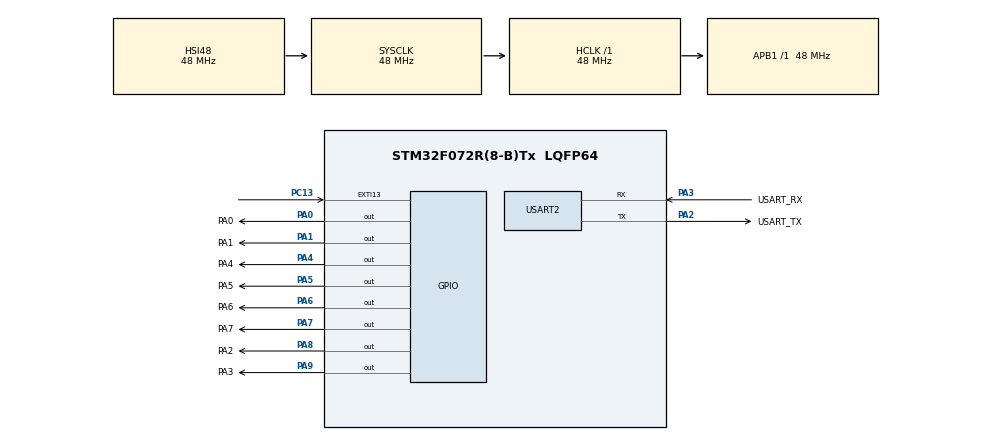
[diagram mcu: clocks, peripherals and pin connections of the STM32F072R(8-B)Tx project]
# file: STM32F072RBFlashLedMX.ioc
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Mcu.Family=STM32F0
Mcu.Name=STM32F072R(8-B)Tx
Mcu.Package=LQFP64
NVIC.EXTI4_15_IRQn=true\:0\:0\:false\:false\:true\:true\:true\:true
PA0.GPIO_Label=PA0
PA0.Signal=GPIO_Output
PA1.GPIO_Label=PA1
PA1.Signal=GPIO_Output
PA13.GPIO_Label=TMS
PA13.Mode=Serial_Wire
PA13.Signal=SYS_SWDIO
PA14.GPIO_Label=TCK
PA14.Mode=Serial_Wire
PA14.Signal=SYS_SWCLK
PA2.GPIO_Label=USART_TX
PA2.GPIO_Mode=GPIO_MODE_AF_PP
PA2.GPIO_PuPd=GPIO_NOPULL
PA2.GPIO_Speed=GPIO_SPEED_FREQ_LOW
PA2.Mode=Asynchronous
PA2.Signal=USART2_TX
PA3.GPIO_Label=USART_RX
PA3.GPIO_Mode=GPIO_MODE_AF_PP
PA3.GPIO_PuPd=GPIO_NOPULL
PA3.GPIO_Speed=GPIO_SPEED_FREQ_LOW
PA3.Mode=Asynchronous
PA3.Signal=USART2_RX
PA4.GPIO_Label=PA4
PA4.Signal=GPIO_Output
PA5.GPIO_Label=PA5
PA5.GPIO_Mode=GPIO_MODE_OUTPUT_PP
PA5.GPIO_PuPd=GPIO_NOPULL
PA5.GPIO_Speed=GPIO_SPEED_FREQ_LOW
PA5.Signal=GPIO_Output
PA6.GPIO_Label=PA6
PA6.Signal=GPIO_Output
PA7.GPIO_Label=PA7
PA7.Signal=GPIO_Output
PA8.GPIO_Label=PA2
PA8.Signal=GPIO_Output
PA9.GPIO_Label=PA3
PA9.Signal=GPIO_Output
PC13.Signal=GPXTI13
PC14-OSC32_IN.Mode=LSE-External-Oscillator
PC14-OSC32_IN.Signal=RCC_OSC32_IN
PC15-OSC32_OUT.Mode=LSE-External-Oscillator
PC15-OSC32_OUT.Signal=RCC_OSC32_OUT
PF0-OSC_IN.Mode=HSE-External-Clock-Source
PF0-OSC_IN.Signal=RCC_OSC_IN
PF1-OSC_OUT.Signal=RCC_OSC_OUT
ProjectManager.HeapSize=0x200
ProjectManager.StackSize=0x400
ProjectManager.TargetToolchain=CMake
RCC.AHBFreq_Value=48000000
RCC.APB1Freq_Value=48000000
RCC.APB1TimFreq_Value=48000000
RCC.FLatency-AdvancedSettings=FLASH_LATENCY_1
RCC.HCLKFreq_Value=48000000
RCC.PLLDivider=RCC_PREDIV_DIV2
RCC.PLLMUL=RCC_PLL_MUL12
RCC.PREFETCH_ENABLE-AdvancedSettings=1
RCC.SYSCLKFreq_VALUE=48000000
RCC.SYSCLKSource=RCC_SYSCLKSOURCE_HSI48
USART2.VirtualMode=VM_ASYNC
USART2.VirtualMode-Asynchronous=VM_ASYNC
board=NUCLEO-F072RB

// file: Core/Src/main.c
/* USER CODE BEGIN Header */
/**
 ******************************************************************************
 * @file           : main.c
 * @brief          : Main program body
 ******************************************************************************
 * @attention
 *
 * Copyright (c) 2024 STMicroelectronics.
 * All rights reserved.
 *
 * This software is licensed under terms that can be found in the LICENSE file
 * in the root directory of this software component.
 * If no LICENSE file comes with this software, it is provided AS-IS.
 *
 ******************************************************************************
 */
/* USER CODE END Header */
#include "main.h"

UART_HandleTypeDef huart2;

void SystemClock_Config(void);
static void MX_GPIO_Init(void);
static void MX_USART2_UART_Init(void);

/* USER CODE BEGIN 0 */

ledMode status;

// Button Interrupt
void HAL_GPIO_EXTI_Callback(uint16_t GPIO_Pin)
{
  ledMode_Next(&status);
}

/////////////////////////////////
// SysTick Handler
void MySysInterrupt(void)
{
  ledMode_HandleTick(&status);
}

void SysTick_Init(void)
{
  // System Core Clock ist 48 MHz
  uint32_t SystemCoreClock = 48000000;

  // Configure 1ms Interrupt
  SysTick->LOAD = (SystemCoreClock / 1000) - 1; // 1 ms
  SysTick->VAL = 0;                             // Clear current value register
  SysTick->CTRL = SysTick_CTRL_TICKINT_Msk      // Enable SysTick interrupt
                  | SysTick_CTRL_ENABLE_Msk;    // Enable SysTick Timer
}

/* USER CODE END 0 */

int main(void)
{

  /* MCU Configuration--------------------------------------------------------*/

  /* Reset of all peripherals, Initializes the Flash interface and the Systick. */
  HAL_Init();

  /* USER CODE BEGIN Init */

  SysTick_Init();

  /* USER CODE END Init */

  /* Configure the system clock */
  SystemClock_Config();

  /* Initialize all configured peripherals */
  MX_GPIO_Init();
  MX_USART2_UART_Init();
  /* USER CODE BEGIN 2 */

  ledMode_Init(&status);

  /* USER CODE END 2 */

  /* Infinite loop */
  while (1)
  {

  }
}

void SystemClock_Config(void)
{
  RCC_OscInitTypeDef RCC_OscInitStruct = {0};
  RCC_ClkInitTypeDef RCC_ClkInitStruct = {0};
  RCC_PeriphCLKInitTypeDef PeriphClkInit = {0};

  /** Initializes the RCC Oscillators according to the specified parameters
   * in the RCC_OscInitTypeDef structure.
   */
  RCC_OscInitStruct.OscillatorType = RCC_OSCILLATORTYPE_HSI48;
  RCC_OscInitStruct.HSI48State = RCC_HSI48_ON;
  RCC_OscInitStruct.PLL.PLLState = RCC_PLL_NONE;
  if (HAL_RCC_OscConfig(&RCC_OscInitStruct) != HAL_OK)
  {
    Error_Handler();
  }

  /** Initializes the CPU, AHB and APB buses clocks
   */
  RCC_ClkInitStruct.ClockType = RCC_CLOCKTYPE_HCLK | RCC_CLOCKTYPE_SYSCLK | RCC_CLOCKTYPE_PCLK1;
  RCC_ClkInitStruct.SYSCLKSource = RCC_SYSCLKSOURCE_HSI48;
  RCC_ClkInitStruct.AHBCLKDivider = RCC_SYSCLK_DIV1;
  RCC_ClkInitStruct.APB1CLKDivider = RCC_HCLK_DIV1;

  if (HAL_RCC_ClockConfig(&RCC_ClkInitStruct, FLASH_LATENCY_1) != HAL_OK)
  {
    Error_Handler();
  }
  PeriphClkInit.PeriphClockSelection = RCC_PERIPHCLK_USART2;
  PeriphClkInit.Usart2ClockSelection = RCC_USART2CLKSOURCE_PCLK1;
  if (HAL_RCCEx_PeriphCLKConfig(&PeriphClkInit) != HAL_OK)
  {
    Error_Handler();
  }
}

static void MX_USART2_UART_Init(void)
{

  huart2.Instance = USART2;
  huart2.Init.BaudRate = 38400;
  huart2.Init.WordLength = UART_WORDLENGTH_8B;
  huart2.Init.StopBits = UART_STOPBITS_1;
  huart2.Init.Parity = UART_PARITY_NONE;
  huart2.Init.Mode = UART_MODE_TX_RX;
  huart2.Init.HwFlowCtl = UART_HWCONTROL_NONE;
  huart2.Init.OverSampling = UART_OVERSAMPLING_16;
  huart2.Init.OneBitSampling = UART_ONE_BIT_SAMPLE_DISABLE;
  huart2.AdvancedInit.AdvFeatureInit = UART_ADVFEATURE_NO_INIT;
  if (HAL_UART_Init(&huart2) != HAL_OK)
  {
    Error_Handler();
  }
}

static void MX_GPIO_Init(void)
{
  GPIO_InitTypeDef GPIO_InitStruct = {0};

  /* GPIO Ports Clock Enable */
  __HAL_RCC_GPIOC_CLK_ENABLE();
  __HAL_RCC_GPIOF_CLK_ENABLE();
  __HAL_RCC_GPIOA_CLK_ENABLE();

  /*Configure GPIO pin Output Level */
  HAL_GPIO_WritePin(GPIOA, PA0_Pin | PA1_Pin | PA4_Pin | PA5_Pin | PA6_Pin | PA7_Pin | PA2_Pin | PA3_Pin, GPIO_PIN_RESET);

  /*Configure GPIO pin : PC13 */
  GPIO_InitStruct.Pin = GPIO_PIN_13;
  GPIO_InitStruct.Mode = GPIO_MODE_IT_RISING;
  GPIO_InitStruct.Pull = GPIO_NOPULL;
  HAL_GPIO_Init(GPIOC, &GPIO_InitStruct);

  /*Configure GPIO pins : PA0_Pin PA1_Pin PA4_Pin PA5_Pin
                           PA6_Pin PA7_Pin PA2_Pin PA3_Pin */
  GPIO_InitStruct.Pin = PA0_Pin | PA1_Pin | PA4_Pin | PA5_Pin | PA6_Pin | PA7_Pin | PA2_Pin | PA3_Pin;
  GPIO_InitStruct.Mode = GPIO_MODE_OUTPUT_PP;
  GPIO_InitStruct.Pull = GPIO_NOPULL;
  GPIO_InitStruct.Speed = GPIO_SPEED_FREQ_LOW;
  HAL_GPIO_Init(GPIOA, &GPIO_InitStruct);

  /* EXTI interrupt init*/
  HAL_NVIC_SetPriority(EXTI4_15_IRQn, 0, 0);
  HAL_NVIC_EnableIRQ(EXTI4_15_IRQn);

  /* USER CODE BEGIN MX_GPIO_Init_2 */

  // Konfiguration des User-Buttons (PC13)
  GPIO_InitStruct.Pin = GPIO_PIN_13;
  GPIO_InitStruct.Mode = GPIO_MODE_IT_FALLING;
  GPIO_InitStruct.Pull = GPIO_NOPULL;
  HAL_GPIO_Init(GPIOC, &GPIO_InitStruct);

  // EXTI interrupt init
  HAL_NVIC_SetPriority(EXTI4_15_IRQn, 0, 0);
  HAL_NVIC_EnableIRQ(EXTI4_15_IRQn);

  /* USER CODE END MX_GPIO_Init_2 */
}

void Error_Handler(void)
{
  __disable_irq();
  while (1)
  {
  }
}
